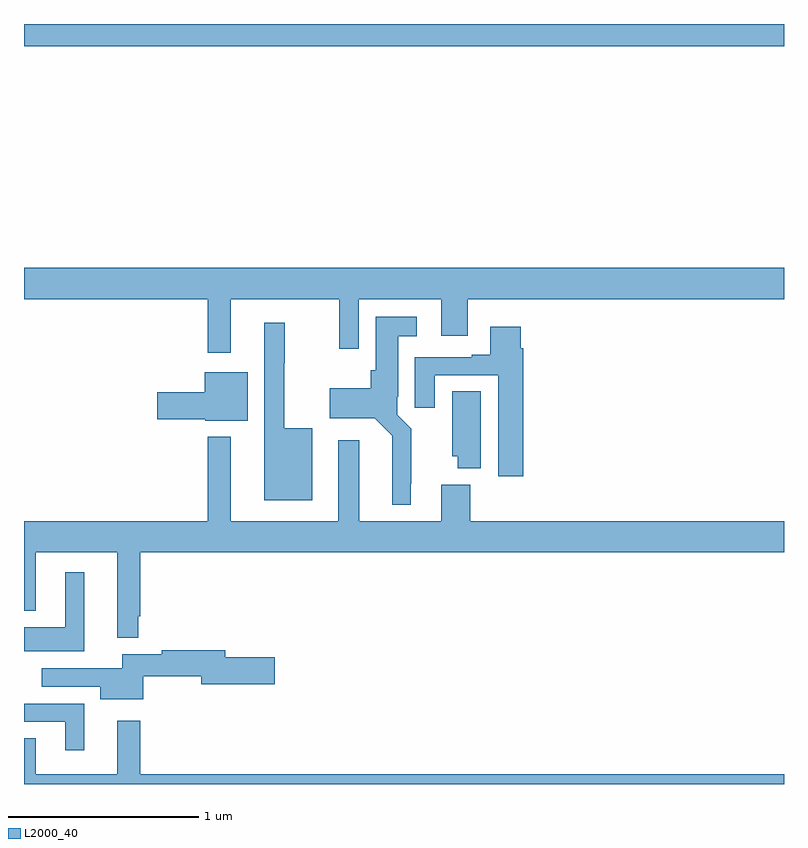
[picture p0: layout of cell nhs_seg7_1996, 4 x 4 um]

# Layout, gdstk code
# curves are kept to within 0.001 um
import gdstk
lib = gdstk.Library(unit=1e-6, precision=1e-09)
def R(c, l, rs):  # rectangles x0, y0, x1, y1
    for r in rs: c.add(gdstk.rectangle(r[:2], r[2:], *l))
def P(c, l, *ps):  # polygons
    for p in ps: c.add(gdstk.Polygon(p, *l))
L2000_40 = (2000, 40)

nhs_seg7_1996 = lib.new_cell('nhs_seg7_1996')
R(nhs_seg7_1996, L2000_40, [(243,1065.884,247,1066)])
P(nhs_seg7_1996, L2000_40, [(244.087,1064.552),(244.66,1064.552),(244.66,1064.292),(244.761,1064.292),(244.761,1064.552),(245.195,1064.552),(245.195,1064.358),(245.335,1064.358),(245.335,1064.552),(247,1064.552),(247,1064.716),(243,1064.716),(243,1064.552),(243.966,1064.552),(243.966,1064.271),(244.087,1064.271)],
  [(245.035,1063.579),(245.039,1063.579),(245.039,1063.87),(244.965,1063.944),(244.965,1064.038),(244.969,1064.038),(244.969,1064.357),(245.068,1064.357),(245.068,1064.458),(244.85,1064.458),(244.85,1064.178),(244.825,1064.178),(244.825,1064.083),(244.608,1064.083),(244.608,1063.925),(244.845,1063.925),(244.938,1063.832),(244.937,1063.469),(245.035,1063.469)],
  [(244.516,1063.873),(244.369,1063.873),(244.369,1064.215),(244.372,1064.215),(244.372,1064.428),(244.265,1064.428),(244.265,1063.493),(244.516,1063.493)],
  [(245.627,1064.294),(245.614,1064.294),(245.614,1064.407),(245.453,1064.407),(245.453,1064.26),(245.357,1064.26),(245.357,1064.247),(245.057,1064.247),(245.057,1063.98),(245.161,1063.98),(245.161,1064.151),(245.495,1064.151),(245.495,1063.62),(245.627,1063.62)],
  [(244.177,1064.167),(243.95,1064.167),(243.95,1064.061),(243.702,1064.061),(243.702,1063.919),(243.954,1063.919),(243.954,1063.913),(244.177,1063.913)],
  [(245.404,1064.066),(245.255,1064.066),(245.255,1063.725),(245.282,1063.725),(245.282,1063.661),(245.404,1063.661)],
  [(245.195,1063.576),(245.195,1063.384),(244.765,1063.384),(244.765,1063.81),(244.655,1063.81),(244.655,1063.384),(244.087,1063.384),(244.087,1063.828),(243.966,1063.828),(243.966,1063.384),(243,1063.384),(243,1062.911),(243.061,1062.911),(243.061,1063.22),(243.491,1063.22),(243.491,1062.771),(243.602,1062.771),(243.602,1062.883),(243.613,1062.883),(243.613,1063.22),(247,1063.22),(247,1063.384),(245.348,1063.384),(245.348,1063.576)],
  [(243.316,1063.114),(243.218,1063.114),(243.218,1062.826),(243,1062.826),(243,1062.698),(243.316,1062.698)],
  [(243.628,1062.568),(243.932,1062.568),(243.932,1062.526),(244.321,1062.526),(244.321,1062.668),(244.06,1062.668),(244.06,1062.704),(243.724,1062.704),(243.724,1062.684),(243.518,1062.684),(243.518,1062.609),(243.093,1062.609),(243.093,1062.513),(243.401,1062.513),(243.401,1062.446),(243.628,1062.446)],
  [(243.316,1062.423),(243,1062.423),(243,1062.327),(243.218,1062.327),(243.218,1062.177),(243.316,1062.177)],
  [(247,1062.052),(243.613,1062.052),(243.613,1062.334),(243.491,1062.334),(243.491,1062.052),(243.061,1062.052),(243.061,1062.242),(243,1062.242),(243,1062),(247,1062)])

lib.write_gds('nhs_seg7_1996.gds')
